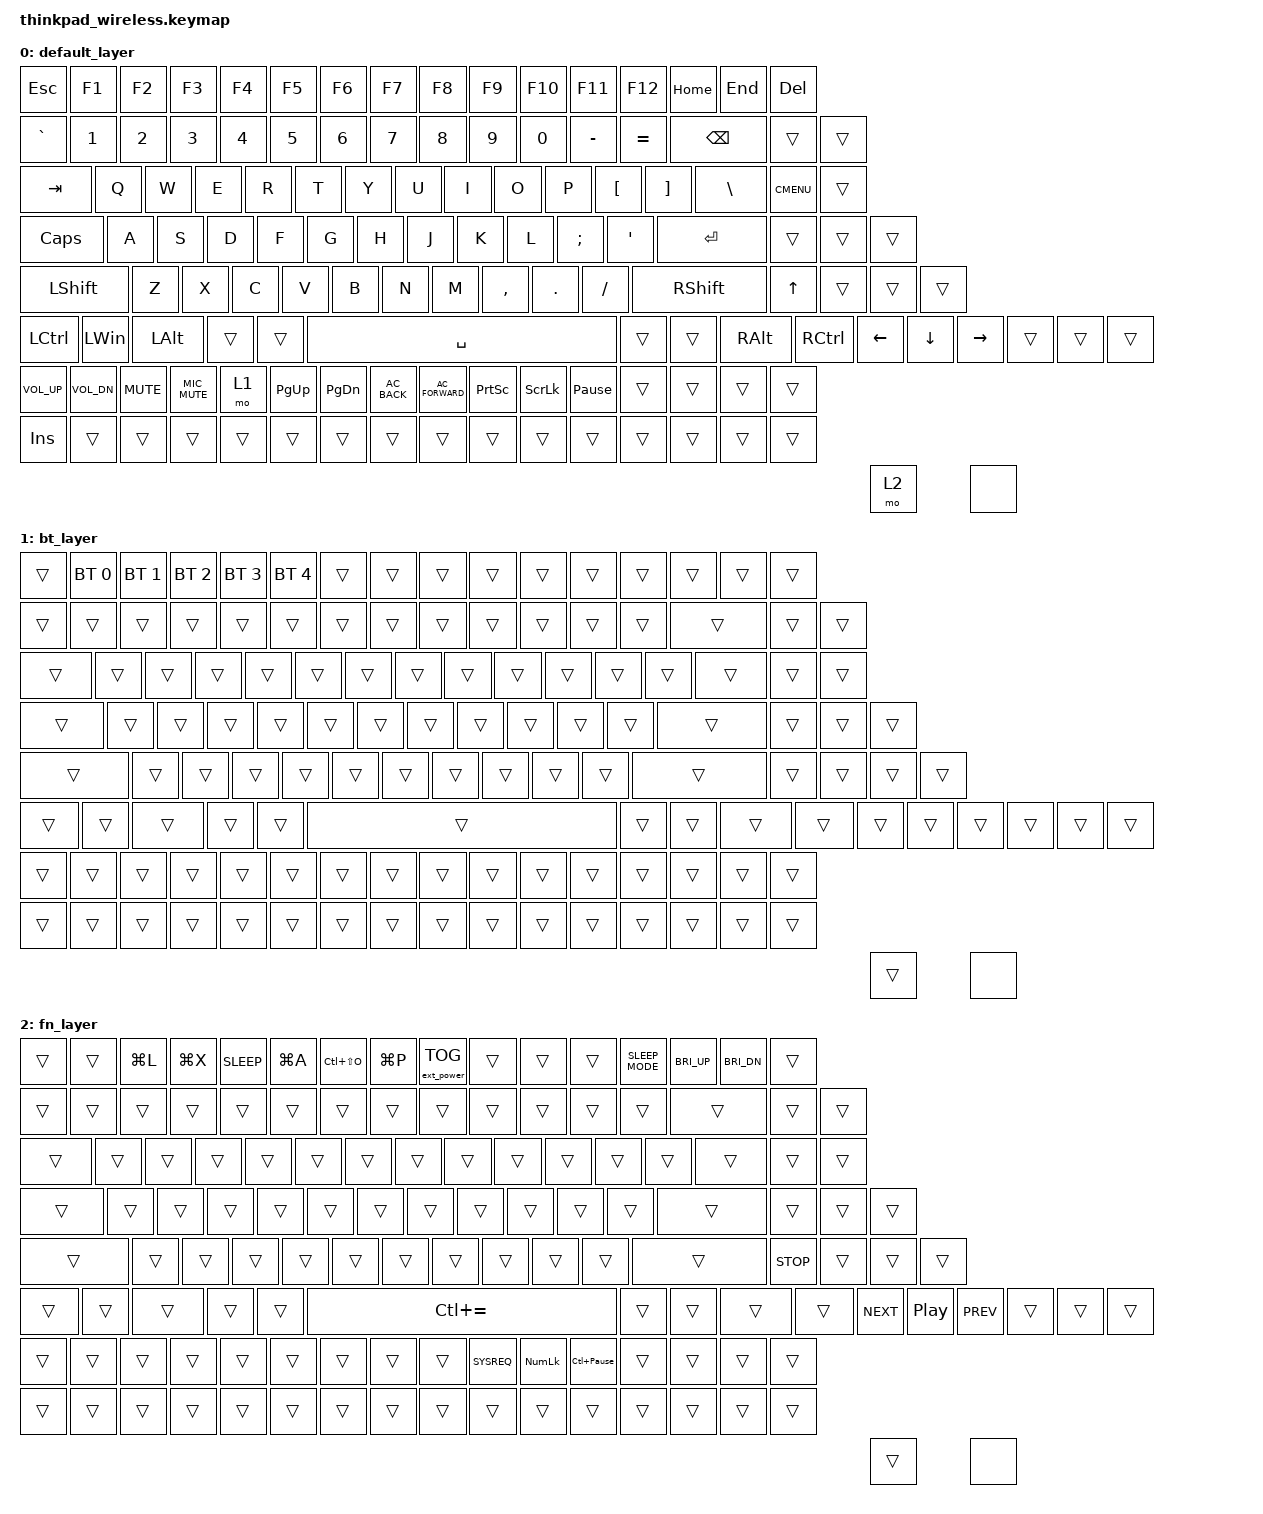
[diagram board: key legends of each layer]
/*
 * Copyright (c) 2024 The ZMK Contributors
 * SPDX-License-Identifier: MIT
 */

#include <behaviors.dtsi>
#include <dt-bindings/zmk/keys.h>
#include <dt-bindings/zmk/bt.h>
#include <dt-bindings/zmk/ext_power.h>

/* Mic-mute key: HID Consumer usage 0xE9 is AC Volume Increment (Volume Up),
 * NOT mic mute - c709cec's assumption was wrong and the key produced
 * Volume Up on Windows. The spec-correct code is Generic Desktop page
 * 0xA9 (System Microphone Mute), but ZMK cannot emit GD page usages
 * (zmk_hid_press accepts KEY/CONSUMER only; upstream #1535) and Windows 11
 * has no built-in handling for 0xA9 anyway (Microsoft Learn HUTRR110 Q&A).
 * Consumer 0xD5 "Start or Stop Microphone Capture" is the semantic consumer
 * code and is ZMK-sendable; Windows currently ignores it (no misfire).
 * Teams/Zoom users can bind an app-shortcut macro instead (Ctrl+Shift+M /
 * Alt+A). */
#define C_MIC_MUTE (ZMK_HID_USAGE(HID_USAGE_CONSUMER, 0xD5))

/ {
    combos {
        compatible = "zmk,combos";
        /* ZMK Studio unlock: Q + P + J pressed together (user-defined
         * unlock key, 2026-08-16). positions: Q=33, P=42, J=55. */
        combo_studio_unlock {
            timeout-ms = <150>;
            key-positions = <33 42 55>;
            bindings = <&studio_unlock>;
        };
    };

    keymap {
        compatible = "zmk,keymap";

        default_layer {
            bindings = <
                &kp ESC    &kp F1     &kp F2     &kp F3     &kp F4     &kp F5     &kp F6     &kp F7     &kp F8     &kp F9     &kp F10    &kp F11    &kp F12    &kp HOME   &kp END    &kp DEL
                &kp GRAVE  &kp N1     &kp N2     &kp N3     &kp N4     &kp N5     &kp N6     &kp N7     &kp N8     &kp N9     &kp N0     &kp MINUS  &kp EQUAL  &kp BSPC   &trans     &trans
                &kp TAB    &kp Q      &kp W      &kp E      &kp R      &kp T      &kp Y      &kp U      &kp I      &kp O      &kp P      &kp LBKT   &kp RBKT   &kp BSLH   &kp K_CMENU &trans
                /* pos 46 = matrix (4,11): X220 menu key, bound 2026-08-17
                 * (K_CMENU = standard application key, HID usage 0x65) */
                &kp CAPS   &kp A      &kp S      &kp D      &kp F      &kp G      &kp H      &kp J      &kp K      &kp L      &kp SEMI   &kp SQT    &kp RET    &trans     &trans     &trans
                &kp LSHFT  &kp Z      &kp X      &kp C      &kp V      &kp B      &kp N      &kp M      &kp COMMA  &kp DOT    &kp FSLH   &kp RSHFT  &kp UP     &trans     &trans     &trans
                &kp LCTRL  &kp LWIN   &kp LALT   &trans     &trans     &kp SPACE  &trans     &trans     &kp RALT   &kp RCTRL  &kp LEFT   &kp DOWN   &kp RIGHT  &trans     &trans     &trans
                &kp C_VOL_UP &kp C_VOL_DN &kp C_MUTE &kp C_MIC_MUTE &mo 1 &kp PG_UP &kp PG_DN  &kp C_AC_BACK &kp C_AC_FORWARD &kp PSCRN &kp SLCK &kp PAUSE_BREAK &trans &trans &trans &trans
                /* pos 100 = ThinkVantage key (matrix (5,10)): now activates
                 * the BT layer (mo 1) so ThinkVantage+1..5 switch BT devices
                 * and ThinkVantage+Power (2 s) pairs (2026-08-17); it no
                 * longer sends F13. */
                /* Row 7: pos 112 = Insert (matrix (0,9), bring-up verified
                 * 2026-08-17); remaining row-7 positions are unused. */
                &kp INS    &trans     &trans     &trans     &trans     &trans     &trans     &trans     &trans     &trans     &trans     &trans     &trans     &trans     &trans     &trans
                /* Row 8: HOTKEY = Fn (mo 2), PWRSWITCH = local power on/off
                 * only (long-press in board firmware); no HID C_PWR to the
                 * host (review 2.16).
                 *
                 * Pairing: ThinkVantage (layer 1) + Power held >= 2 s is
                 * handled by status_leds.c. */
                &mo 2      &none
            >;
        };

        bt_layer {
            bindings = <
                &trans     &bt BT_SEL 0 &bt BT_SEL 1 &bt BT_SEL 2 &bt BT_SEL 3 &bt BT_SEL 4 &trans     &trans     &trans     &trans     &trans     &trans     &trans     &trans     &trans     &trans
                &trans     &trans     &trans     &trans     &trans     &trans     &trans     &trans     &trans     &trans     &trans     &trans     &trans     &trans     &trans     &trans
                &trans     &trans     &trans     &trans     &trans     &trans     &trans     &trans     &trans     &trans     &trans     &trans     &trans     &trans     &trans     &trans
                &trans     &trans     &trans     &trans     &trans     &trans     &trans     &trans     &trans     &trans     &trans     &trans     &trans     &trans     &trans     &trans
                &trans     &trans     &trans     &trans     &trans     &trans     &trans     &trans     &trans     &trans     &trans     &trans     &trans     &trans     &trans     &trans
                &trans     &trans     &trans     &trans     &trans     &trans     &trans     &trans     &trans     &trans     &trans     &trans     &trans     &trans     &trans     &trans
                &trans     &trans     &trans     &trans     &trans     &trans     &trans     &trans     &trans     &trans     &trans     &trans     &trans     &trans     &trans     &trans
                &trans     &trans     &trans     &trans     &trans     &trans     &trans     &trans     &trans     &trans     &trans     &trans     &trans     &trans     &trans     &trans
                &trans     &none /* Row 8 */
            >;
        };

        fn_layer {
            bindings = <
                /* Row 0: F2=Lock, F3=Battery/Power, F4=Sleep, F5=WiFi/BT Panel, F6=Camera, F7=Project, F8=TrackPoint toggle, F12=Hibernate, Home=Bri+, End=Bri- */
                &trans     &trans     &kp LG(L)  &kp LG(X)  &kp C_SLEEP &kp LG(A) &kp LC(LS(O)) &kp LG(P) &ext_power EP_TOG &trans &trans &trans &kp C_SLEEP_MODE &kp C_BRI_UP &kp C_BRI_DN &trans
                /* Row 1 */
                &trans     &trans     &trans     &trans     &trans     &trans     &trans     &trans     &trans     &trans     &trans     &trans     &trans     &trans     &trans     &trans
                /* Row 2 */
                &trans     &trans     &trans     &trans     &trans     &trans     &trans     &trans     &trans     &trans     &trans     &trans     &trans     &trans     &trans     &trans
                /* Row 3 */
                &trans     &trans     &trans     &trans     &trans     &trans     &trans     &trans     &trans     &trans     &trans     &trans     &trans     &trans     &trans     &trans
                /* Row 4: Up arrow = Stop */
                &trans     &trans     &trans     &trans     &trans     &trans     &trans     &trans     &trans     &trans     &trans     &trans     &kp C_STOP &trans     &trans     &trans
                /* Row 5: Space = Zoom in (Ctrl+=), Left = Next, Down = Play/Pause, Right = Prev */
                &trans     &trans     &trans     &trans     &trans     &kp LC(EQUAL) &trans  &trans     &trans     &trans     &kp C_NEXT &kp C_PP   &kp C_PREV &trans     &trans     &trans
                /* Row 6: pos 105 (PrtSc) = SysRq, pos 106 (ScrLk) = NumLock, pos 107 (Pause) = Break */
                &trans     &trans     &trans     &trans     &trans     &trans     &trans     &trans     &trans     &kp SYSREQ &kp KP_NUM &kp LC(PAUSE_BREAK) &trans &trans &trans &trans
                /* Row 7 */
                &trans     &trans     &trans     &trans     &trans     &trans     &trans     &trans     &trans     &trans     &trans     &trans     &trans     &trans     &trans     &trans
                /* Row 8 */
                &trans     &none
            >;
        };
    };
};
